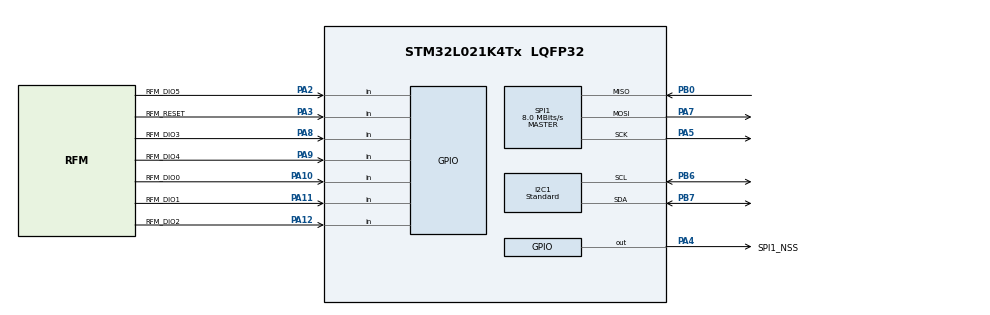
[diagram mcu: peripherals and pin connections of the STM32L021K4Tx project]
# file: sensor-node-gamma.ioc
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AES.DataType=CRYP_DATATYPE_8B
AES.pKey=11 22 33 44 55 66 77 88 99 00 11 22 33 44 55 66
I2C1.I2C_Fall_Time=50
I2C1.I2C_Rise_Time=50
I2C1.I2C_Speed_Mode=I2C_Standard
I2C1.Timing=0x00403D5A
Mcu.Family=STM32L0
Mcu.Name=STM32L021K4Tx
Mcu.Package=LQFP32
NVIC.AES_RNG_LPUART1_IRQn=true\:0\:0\:false\:false\:true\:true
NVIC.I2C1_IRQn=true\:0\:0\:false\:false\:true\:true
NVIC.SPI1_IRQn=true\:0\:0\:false\:false\:true\:true
PA10.GPIO_Label=RFM_DIO0
PA10.Signal=GPIO_Input
PA11.GPIO_Label=RFM_DIO1
PA11.Signal=GPIO_Input
PA12.GPIO_Label=RFM_DIO2
PA12.Signal=GPIO_Input
PA13.Mode=Serial_Wire
PA13.Signal=SYS_SWDIO
PA14.Mode=Serial_Wire
PA14.Signal=SYS_SWCLK
PA2.GPIO_Label=RFM_DIO5
PA2.Signal=GPIO_Input
PA3.GPIO_Label=RFM_RESET
PA3.Signal=GPIO_Input
PA4.GPIO_Label=SPI1_NSS
PA4.Signal=GPIO_Output
PA5.Mode=Full_Duplex_Master
PA5.Signal=SPI1_SCK
PA7.Mode=Full_Duplex_Master
PA7.Signal=SPI1_MOSI
PA8.GPIO_Label=RFM_DIO3
PA8.Signal=GPIO_Input
PA9.GPIO_Label=RFM_DIO4
PA9.Signal=GPIO_Input
PB0.Mode=Full_Duplex_Master
PB0.Signal=SPI1_MISO
PB6.GPIO_PuPdOD=GPIO_NOPULL
PB6.Mode=I2C
PB6.Signal=I2C1_SCL
PB7.GPIO_PuPdOD=GPIO_NOPULL
PB7.Mode=I2C
PB7.Signal=I2C1_SDA
ProjectManager.HeapSize=0x200
ProjectManager.StackSize=0x400
ProjectManager.TargetToolchain=Makefile
RCC.AHBFreq_Value=32000000
RCC.APB1CLKDivider=RCC_HCLK_DIV2
RCC.APB1Freq_Value=16000000
RCC.APB1TimFreq_Value=32000000
RCC.APB2Freq_Value=32000000
RCC.APB2TimFreq_Value=32000000
RCC.HCLKFreq_Value=32000000
RCC.HSE_VALUE=8000000
RCC.HSI16_VALUE=16000000
RCC.HSI_VALUE=16000000
RCC.LSE_VALUE=32768
RCC.MSI_VALUE=2097000
RCC.PLLMUL=RCC_PLLMUL_4
RCC.SYSCLKFreq_VALUE=32000000
RCC.SYSCLKSource=RCC_SYSCLKSOURCE_PLLCLK
RCC.VCOOutputFreq_Value=64000000
SPI1.BaudRatePrescaler=SPI_BAUDRATEPRESCALER_4
SPI1.CalculateBaudRate=8.0 MBits/s
SPI1.Direction=SPI_DIRECTION_2LINES
SPI1.Mode=SPI_MODE_MASTER
SPI1.VirtualType=VM_MASTER
VP_AES_VS_AES.Mode=AES_Activate
VP_CRC_VS_CRC.Mode=CRC_Activate
board=custom

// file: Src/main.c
/* USER CODE BEGIN Header */
/**
  ******************************************************************************
  * @file           : main.c
  * @brief          : Main program body
  ******************************************************************************
  ** This notice applies to any and all portions of this file
  * that are not between comment pairs USER CODE BEGIN and
  * USER CODE END. Other portions of this file, whether
  * inserted by the user or by software development tools
  * are owned by their respective copyright owners.
  *
  * COPYRIGHT(c) 2018 STMicroelectronics
  *
  * Redistribution and use in source and binary forms, with or without modification,
  * are permitted provided that the following conditions are met:
  *   1. Redistributions of source code must retain the above copyright notice,
  *      this list of conditions and the following disclaimer.
  *   2. Redistributions in binary form must reproduce the above copyright notice,
  *      this list of conditions and the following disclaimer in the documentation
  *      and/or other materials provided with the distribution.
  *   3. Neither the name of STMicroelectronics nor the names of its contributors
  *      may be used to endorse or promote products derived from this software
  *      without specific prior written permission.
  *
  * THIS SOFTWARE IS PROVIDED BY THE COPYRIGHT HOLDERS AND CONTRIBUTORS "AS IS"
  * AND ANY EXPRESS OR IMPLIED WARRANTIES, INCLUDING, BUT NOT LIMITED TO, THE
  * IMPLIED WARRANTIES OF MERCHANTABILITY AND FITNESS FOR A PARTICULAR PURPOSE ARE
  * DISCLAIMED. IN NO EVENT SHALL THE COPYRIGHT HOLDER OR CONTRIBUTORS BE LIABLE
  * FOR ANY DIRECT, INDIRECT, INCIDENTAL, SPECIAL, EXEMPLARY, OR CONSEQUENTIAL
  * DAMAGES (INCLUDING, BUT NOT LIMITED TO, PROCUREMENT OF SUBSTITUTE GOODS OR
  * SERVICES; LOSS OF USE, DATA, OR PROFITS; OR BUSINESS INTERRUPTION) HOWEVER
  * CAUSED AND ON ANY THEORY OF LIABILITY, WHETHER IN CONTRACT, STRICT LIABILITY,
  * OR TORT (INCLUDING NEGLIGENCE OR OTHERWISE) ARISING IN ANY WAY OUT OF THE USE
  * OF THIS SOFTWARE, EVEN IF ADVISED OF THE POSSIBILITY OF SUCH DAMAGE.
  *
  ******************************************************************************
  */
/* USER CODE END Header */

#include "main.h"
#include "aes.h"
#include "crc.h"
#include "i2c.h"
#include "spi.h"
#include "gpio.h"

/* USER CODE BEGIN PV */
/* Private variables ---------------------------------------------------------*/

/* USER CODE END PV */

void SystemClock_Config(void);
/* USER CODE BEGIN PFP */
/* Private function prototypes -----------------------------------------------*/

/* USER CODE END PFP */

int main(void)
{

  /* MCU Configuration--------------------------------------------------------*/

  /* Reset of all peripherals, Initializes the Flash interface and the Systick. */
  HAL_Init();

  /* Configure the system clock */
  SystemClock_Config();

  /* Initialize all configured peripherals */
  MX_GPIO_Init();
  MX_AES_Init();
  MX_SPI1_Init();
  MX_I2C1_Init();
  MX_CRC_Init();
  /* USER CODE BEGIN 2 */
  uint32_t message_index = 0;
  rfm9x_t rfm98;
  RFM98Glue_Init(&rfm98);
  RFM9X_Init(&rfm98);
  uint8_t syncWord[] = {0x46, 0xA5, 0xE3};
  RFM9X_SetSyncWord(&rfm98, syncWord, 3);
  uint8_t power = 0x0f;
  RFM9X_SetPower(&rfm98, &power);

  rfm9x_flags_t flags;
  RFM9X_GetFlags(&rfm98, &flags);

  rfm9x_mode_t setMode = RFM9X_MODE_TRANSMIT;
  RFM9X_SetMode(&rfm98, &setMode);
  /* USER CODE END 2 */

  /* Infinite loop */
  /* USER CODE BEGIN WHILE */
  while (1)
  {
    // LL_I2C_Enable(I2C1);
    // uint8_t address = 0xE0;

    // uint8_t comWake[] = {0x35, 0x17};
    // LL_I2C_HandleTransfer(I2C1, address, LL_I2C_ADDRSLAVE_7BIT, 2, LL_I2C_MODE_AUTOEND, LL_I2C_GENERATE_START_WRITE);
    // while (!LL_I2C_IsActiveFlag_TXIS(I2C1)) {}
    // LL_I2C_TransmitData8(I2C1, comWake[0]);
    // while (!LL_I2C_IsActiveFlag_TXIS(I2C1)) {}
    // LL_I2C_TransmitData8(I2C1, comWake[1]);
    // // LL_mDelay(1);

    // uint8_t comId[] = {0xEF, 0xC8};
    // LL_I2C_HandleTransfer(I2C1, address, LL_I2C_ADDRSLAVE_7BIT, 2, LL_I2C_MODE_AUTOEND, LL_I2C_GENERATE_START_WRITE);
    // while (!LL_I2C_IsActiveFlag_TXIS(I2C1)) {}
    // LL_I2C_TransmitData8(I2C1, comId[0]);
    // while (!LL_I2C_IsActiveFlag_TXIS(I2C1)) {}
    // LL_I2C_TransmitData8(I2C1, comId[1]);

    // uint8_t i2cSize = 3;
    // uint8_t valuesId[i2cSize];
    // LL_I2C_HandleTransfer(I2C1, address, LL_I2C_ADDRSLAVE_7BIT, i2cSize, LL_I2C_MODE_AUTOEND, LL_I2C_GENERATE_START_READ);
    // for (uint8_t cntr = 0; cntr < i2cSize; cntr++) {
    //   while (!LL_I2C_IsActiveFlag_RXNE(I2C1)) {}
    //   valuesId[cntr] = LL_I2C_ReceiveData8(I2C1);
    // }

    // uint8_t comMeas[] = {0x7C, 0xA2};
    // LL_I2C_HandleTransfer(I2C1, address, LL_I2C_ADDRSLAVE_7BIT, 2, LL_I2C_MODE_AUTOEND, LL_I2C_GENERATE_START_WRITE);
    // while (!LL_I2C_IsActiveFlag_TXIS(I2C1)) {}
    // LL_I2C_TransmitData8(I2C1, comMeas[0]);
    // while (!LL_I2C_IsActiveFlag_TXIS(I2C1)) {}
    // LL_I2C_TransmitData8(I2C1, comMeas[1]);

    // i2cSize = 6;
    // uint8_t values[i2cSize];
    // LL_I2C_HandleTransfer(I2C1, address, LL_I2C_ADDRSLAVE_7BIT, i2cSize, LL_I2C_MODE_AUTOEND, LL_I2C_GENERATE_START_READ);
    // for (uint8_t cntr = 0; cntr < i2cSize; cntr++) {
    //   while (!LL_I2C_IsActiveFlag_RXNE(I2C1)) {}
    //   values[cntr] = LL_I2C_ReceiveData8(I2C1);
    // }

    // volatile uint32_t i2cStatus = LL_I2C_IsActiveFlag_BERR(I2C1);

    // uint8_t comSleep[] = {0xB0, 0x98};
    // LL_I2C_HandleTransfer(I2C1, address, LL_I2C_ADDRSLAVE_7BIT, 2, LL_I2C_MODE_AUTOEND, LL_I2C_GENERATE_START_WRITE);
    // while (!LL_I2C_IsActiveFlag_TXIS(I2C1)) {}
    // LL_I2C_TransmitData8(I2C1, comSleep[0]);
    // while (!LL_I2C_IsActiveFlag_TXIS(I2C1)) {}
    // LL_I2C_TransmitData8(I2C1, comSleep[1]);

    // LL_I2C_Disable(I2C1);

    // // check crc start
    // LL_CRC_SetPolynomialSize(CRC, LL_CRC_POLYLENGTH_8B);
    // LL_CRC_SetInitialData(CRC, 0xFF);
    // LL_CRC_SetPolynomialCoef(CRC, 0x31);
    // LL_CRC_ResetCRCCalculationUnit(CRC);
    // LL_CRC_FeedData16(CRC, ((uint16_t)values[0] << 8) + values[1]);

    // if (values[2] != LL_CRC_ReadData8(CRC)) {
    //   volatile uint8_t tmp = 0x00;
    // }

    // LL_CRC_ResetCRCCalculationUnit(CRC);
    // LL_CRC_FeedData16(CRC, ((uint16_t)values[3] << 8) + values[4]);

    // if (values[5] != LL_CRC_ReadData8(CRC)) {
    //   volatile uint8_t tmp = 0x00;
    // }

    // LL_CRC_ResetCRCCalculationUnit(CRC);
    // LL_CRC_FeedData16(CRC, ((uint16_t)valuesId[0] << 8) + valuesId[1]);

    // if (valuesId[2] != LL_CRC_ReadData8(CRC)) {
    //   volatile uint8_t tmp = 0x00;
    // }
    // // check crc end

    // volatile double valTemp = 175 * ((double)(((uint16_t)values[0] << 8) + values[1]) / (1 << 16)) - 45;
    // volatile double valHum = 100 * ((double)(((uint16_t)values[3] << 8) + values[4]) / (1 << 16));

    // volatile message_0001_t msg = {
    //   .type = 0x0001,
    //   .mcu_id_1 = LL_GetUID_Word0(),
    //   .mcu_id_2 = LL_GetUID_Word1(),
    //   .mcu_id_3 = LL_GetUID_Word2(),
    //   .message_index = ++message_index,
    //   .sensor_id = (((uint16_t)valuesId[0] << 8) + valuesId[1]),
    //   .temperature = (float)valTemp,
    //   .humidity = (float)valHum,
    //   ._rng = HAL_GetTick() ^ (((uint16_t)values[1] << 8) + values[4])
    // };

    // // encrypt start
    // // size_t dataSize = sizeof(message_0001_t);
    // size_t dataSize = 32;
    // uint8_t dataPlain[dataSize] __attribute__ ((aligned (32)));
    // // uint8_t dataPlainNew[dataSize] __attribute__ ((aligned (32)));
    // uint8_t dataCrypt[dataSize] __attribute__ ((aligned (32)));

    // memcpy(dataPlain, &msg, dataSize);
    // volatile HAL_StatusTypeDef statusCrypt = HAL_CRYP_Init(&hcryp);

    // if (statusCrypt != HAL_OK) {
    //   volatile uint8_t tmp = 0;
    // }

    // statusCrypt = HAL_CRYP_AESECB_Encrypt(&hcryp, dataPlain, dataSize, dataCrypt, 1000);

    // if (statusCrypt != HAL_OK) {
    //   volatile uint8_t tmp = 0;
    // }

    // HAL_CRYP_DeInit(&hcryp);
    // HAL_CRYP_Init(&hcryp);

    // statusCrypt = HAL_CRYP_AESECB_Decrypt(&hcryp, dataCrypt, dataSize, dataPlainNew, 1000);

    // if (statusCrypt != HAL_OK) {
    //   volatile uint8_t tmp = 0;
    // }
    // HAL_CRYP_DeInit(&hcryp);

    // volatile message_0001_t msgNew;
    // memcpy(&msgNew, dataPlainNew, dataSize);
    // encrypt end

    uint8_t text[] = "Hello World!";
    RFM9X_WriteMessage(&rfm98, text, 12);
    // RFM9X_WriteMessage(&rfm98, values, 6);
    LL_mDelay(10);

    RFM9X_GetFlags(&rfm98, &flags);

    while(!(flags & RFM9X_FLAG_PACKET_SENT)) {
      LL_mDelay(1);
      RFM9X_GetFlags(&rfm98, &flags);
    }

    LL_mDelay(1000);
    /* USER CODE END WHILE */

  }
}

void SystemClock_Config(void)
{
  LL_FLASH_SetLatency(LL_FLASH_LATENCY_1);

  if(LL_FLASH_GetLatency() != LL_FLASH_LATENCY_1)
  {
  Error_Handler();
  }
  LL_PWR_SetRegulVoltageScaling(LL_PWR_REGU_VOLTAGE_SCALE1);
  LL_RCC_HSI_Enable();

   /* Wait till HSI is ready */
  while(LL_RCC_HSI_IsReady() != 1)
  {

  }
  LL_RCC_HSI_SetCalibTrimming(16);
  LL_RCC_PLL_ConfigDomain_SYS(LL_RCC_PLLSOURCE_HSI, LL_RCC_PLL_MUL_4, LL_RCC_PLL_DIV_2);
  LL_RCC_PLL_Enable();

   /* Wait till PLL is ready */
  while(LL_RCC_PLL_IsReady() != 1)
  {

  }
  LL_RCC_SetAHBPrescaler(LL_RCC_SYSCLK_DIV_1);
  LL_RCC_SetAPB1Prescaler(LL_RCC_APB1_DIV_2);
  LL_RCC_SetAPB2Prescaler(LL_RCC_APB2_DIV_1);
  LL_RCC_SetSysClkSource(LL_RCC_SYS_CLKSOURCE_PLL);

   /* Wait till System clock is ready */
  while(LL_RCC_GetSysClkSource() != LL_RCC_SYS_CLKSOURCE_STATUS_PLL)
  {

  }
  LL_Init1msTick(32000000);
  LL_SYSTICK_SetClkSource(LL_SYSTICK_CLKSOURCE_HCLK);
  LL_SetSystemCoreClock(32000000);
  LL_RCC_SetI2CClockSource(LL_RCC_I2C1_CLKSOURCE_PCLK1);
}

void Error_Handler(void)
{
  while(1)
  {
  }
}

/************************ (C) COPYRIGHT STMicroelectronics *****END OF FILE****/
